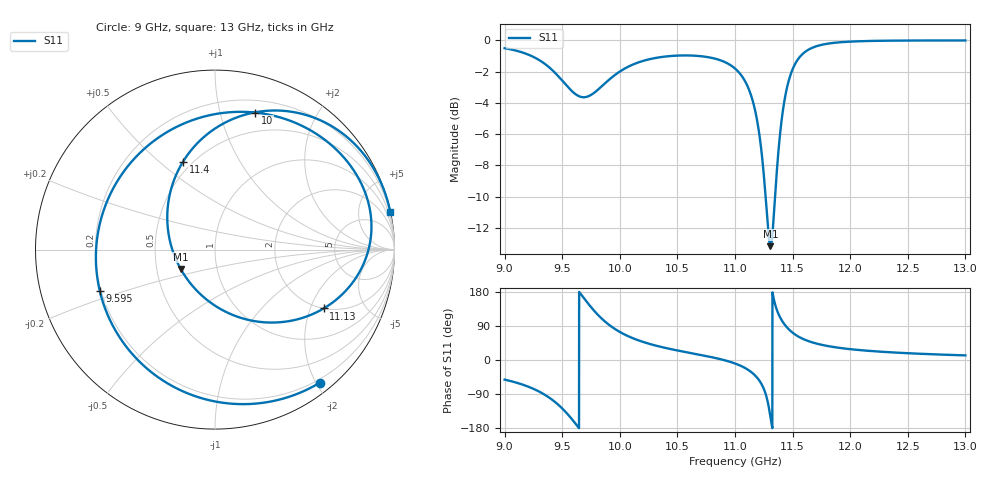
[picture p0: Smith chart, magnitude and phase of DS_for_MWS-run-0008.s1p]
! TOUCHSTONE file generated by CST DESIGN STUDIO
! Date and time: Tue Feb  4 18:08:20 2025
! Project name: C:\Work\MatlabApps\UnitCellOptimizationMatlab\CST\unitcell.cst
! Tree item: Tasks\Sweep1\SPara1\S-Parameters
! Header version: 2024
! Port assignment regex: !\s*Touchstone port\s*([0-9]+)\s*=\s*(CST MWS port|CST DES external port|CST DES block port)\s*(.+)\s* \(\"(.*)\"\)(\s*mode\s*([0-9]+))?.*
! Touchstone port assignment:
! Touchstone port 1 = CST DES external port 1 ("")
# GHz S MA R 50
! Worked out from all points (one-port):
!   4001 points, 9 GHz to 13 GHz, reference 50 ohm
!   lowest |S11| = -13.2 dB at 11.31 GHz (marker M1), VSWR 1.56, Z = 33.3 - j7.51 ohm
!   |S11| at or under -10 dB: 11.27 GHz to 11.35 GHz (82.28 MHz wide, 0.728 % of centre)
!   S11 on the Smith chart (normalised r, x): 9 GHz: 0.15, -2.05; 9.595 GHz: 0.19, -0.17; 10 GHz: 0.31, +1.29; 11.13 GHz: 2.00, -2.49; 11.4 GHz: 0.45, +0.60; 13 GHz: 0.03, +9.38
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9  0.944 -51.7
9.166  0.9116 -65.9
9.318  0.8567 -86.3
9.415  0.8023 -105.4
9.5  0.7436 -127.8
9.595  0.6822 -160.1
9.69  0.6576 162.6
9.802  0.691 121.7
9.893  0.7407 96.0
10  0.7946 74.0
10.002  0.7955 73.7
10.218  0.8629 46.1
10.5  0.8938 25.2
10.79  0.8801 7.9
11  0.8127 -9.2
11.126  0.6886 -28.4
11.231  0.4374 -64.0
11.27  0.3006 -93.5
11.308  0.2194 -150.7
11.351  0.3295 143.8
11.396  0.5216 109.9
11.444  0.6859 88.5
11.5  0.8082 72.1
11.585  0.9033 56.4
11.686  0.9518 45.1
12  0.9907 28.6
12.5  0.9986 17.9
13  0.9993 12.2
